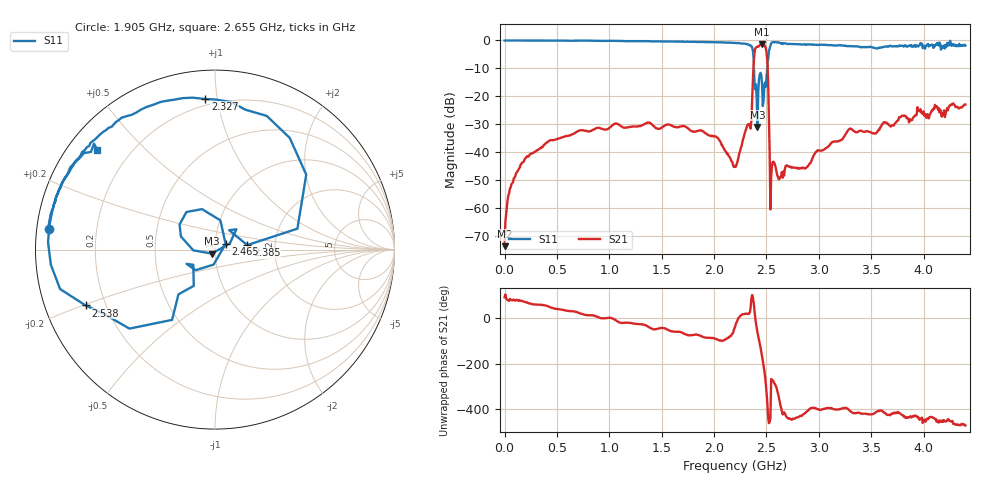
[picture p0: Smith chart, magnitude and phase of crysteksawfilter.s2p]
# HZ S RI R 50
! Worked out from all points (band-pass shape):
!   606 points, 50 kHz to 4.4 GHz, reference 50 ohm
!   highest |S21| = -1.31 dB at 2.458 GHz (marker M1); lowest = -73.7 dB at 50 kHz (marker M2)
!   |S21| within 3 dB of the highest: 2.387 GHz to 2.501 GHz (114.1 MHz wide, 4.67 % of centre)
!   lowest |S11| = -31.0 dB at 2.415 GHz (marker M3), VSWR 1.06, Z = 48.2 - j2.13 ohm
!   |S11| at or under -10 dB: 2.381 GHz to 2.509 GHz (127.4 MHz wide, 5.21 % of centre)
!   S12 and S22 are empty: the file has one direction only
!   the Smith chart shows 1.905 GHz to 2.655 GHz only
!   S11 on the Smith chart (normalised r, x): 1.905 GHz: 0.03, +0.06; 2.327 GHz: 0.16, +0.93; 2.385 GHz: 1.44, +0.07; 2.465 GHz: 1.12, +0.07; 2.538 GHz: 0.13, -0.20; 2.655 GHz: 0.08, +0.36
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50000  0.996 -0.0134  -4.71e-06 0.000207  0 0  0 0
5.095852e7  0.9952 -0.0994  0.000232 0.00222  0 0  0 0
1.745935e8  0.9532 -0.3016  0.00181 0.00635  0 0  0 0
7.345871e8  0.3228 -0.9417  0.0233 0.00805  0 0  0 0
1.469124e9  -0.7531 -0.5999  0.0183 -0.0186  0 0  0 0
1.905483e9  -0.9273 0.1161  0.00199 -0.0225  0 0  0 0
2.203661e9  -0.6093 0.6643  0.00452 -0.00301  0 0  0 0
2.327296e9  -0.0534 0.8392  0.03 0.0103  0 0  0 0
2.349114e9  0.1698 0.7793  0.0185 0.0189  0 0  0 0
2.385478e9  0.1799 0.0251  0.4749 0.3365  0 0  0 0
2.414568e9  -0.0176 -0.0221  0.3499 -0.6959  0 0  0 0
2.436386e9  -0.1977 0.1396  -0.3004 -0.767  0 0  0 0
2.458204e9  0.0303 0.1629  -0.8389 -0.1913  0 0  0 0
2.465477e9  0.059 0.0316  -0.8487 0.1084  0 0  0 0
2.50184e9  -0.1183 -0.202  0.5219 0.2935  0 0  0 0
2.538203e9  -0.7208 -0.3112  0.000184 -0.000927  0 0  0 0
2.560021e9  -0.9301 0.0405  0.000386 0.00662  0 0  0 0
2.654565e9  -0.6574 0.5575  0.00155 -0.00312  0 0  0 0
2.938199e9  -0.1376 0.8266  0.00631 -0.0044  0 0  0 0
3.294558e9  0.3435 0.7084  0.018 -0.0189  0 0  0 0
3.672736e9  0.6516 0.4373  0.0125 -0.0275  0 0  0 0
4.4e9  0.6158 -0.5305  -0.0265 -0.0661  0 0  0 0
